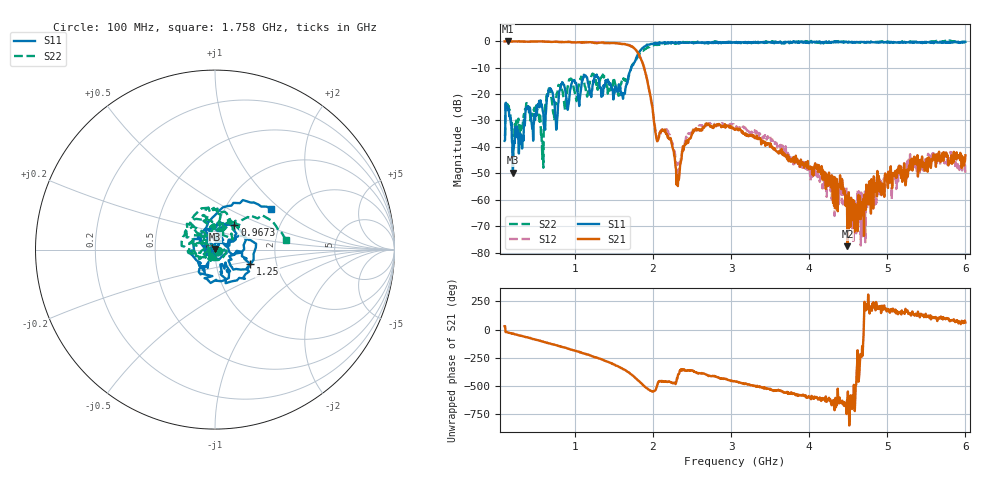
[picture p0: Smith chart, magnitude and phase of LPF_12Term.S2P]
!Created with skrf (http://scikit-rf.org).
# MHz S RI R 50.0
!freq ReS11 ImS11 ReS21 ImS21 ReS12 ImS12 ReS22 ImS22
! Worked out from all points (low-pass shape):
!   1001 points, 100 MHz to 6 GHz, reference 50 ohm
!   highest |S21| = -0.09 dB at 141.3 MHz (marker M1); lowest = -77.5 dB at 4.49 GHz (marker M2)
!   |S21| within 3 dB of the highest: start of sweep to 1.772 GHz
!   lowest |S11| = -49.7 dB at 206.2 MHz (marker M3), VSWR 1.01, Z = 49.9 + j0.305 ohm
!   |S11| at or under -10 dB: start of sweep to 1.722 GHz
!   |S22| runs from -47.9 to 0.2 dB; largest |S21 - S12| = 0.074
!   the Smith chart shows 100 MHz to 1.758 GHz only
!   S11 on the Smith chart (normalised r, x): 100 MHz: 1.02, -0.01; 967.3 MHz: 1.19, +0.33; 1.25 GHz: 1.46, -0.24; 1.758 GHz: 1.62, +0.86
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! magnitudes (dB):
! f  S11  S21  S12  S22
! 100 MHz  -37.7  -0.1  -0.1  -35.4
! 141.3 MHz  -25.5  -0.1  -0.1  -24.4
! 206.2 MHz  -49.7  -0.1  -0.1  -47.6
! 312.4 MHz  -38.2  -0.2  -0.2  -32.2
! 389.1 MHz  -25.0  -0.2  -0.2  -23.8
! 577.9 MHz  -24.5  -0.1  -0.1  -39.4
! 660.5 MHz  -19.0  -0.3  -0.3  -18.6
! 760.8 MHz  -33.5  -0.3  -0.3  -21.6
! 967.3 MHz  -15.2  -0.5  -0.5  -15.0
! 1.085 GHz  -16.3  -0.5  -0.5  -14.0
! 1.25 GHz  -13.5  -0.7  -0.6  -12.8
! 1.616 GHz  -21.8  -1.1  -1.2  -15.2
! 1.758 GHz  -8.3  -2.6  -2.7  -8.0
! 2.071 GHz  -0.9  -36.9  -36.4  -1.4
! 2.212 GHz  -0.7  -37.2  -35.3  -0.7
! 2.318 GHz  -0.6  -54.8  -47.7  -0.8
! 2.531 GHz  -0.7  -33.6  -34.0  -0.5
! 3.05 GHz  -0.6  -33.6  -32.1  -0.5
! 4.035 GHz  -0.6  -47.7  -50.7  -0.5
! 4.49 GHz  -0.4  -77.5  -62.9  -0.4
! 5.021 GHz  -0.5  -51.1  -54.0  -0.3
! 6 GHz  -0.3  -43.2  -49.8  -0.3
